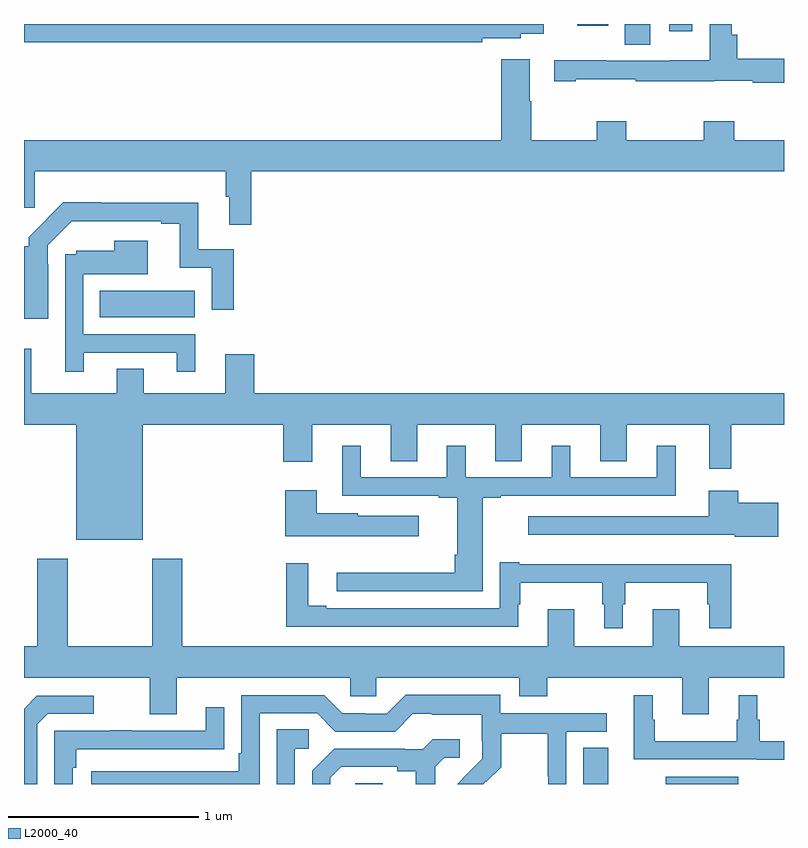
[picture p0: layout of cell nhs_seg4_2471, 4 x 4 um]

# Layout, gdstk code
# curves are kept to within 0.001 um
import gdstk
lib = gdstk.Library(unit=1e-6, precision=1e-09)
def R(c, l, rs):  # rectangles x0, y0, x1, y1
    for r in rs: c.add(gdstk.rectangle(r[:2], r[2:], *l))
def P(c, l, *ps):  # polygons
    for p in ps: c.add(gdstk.Polygon(p, *l))
L2000_40 = (2000, 40)

nhs_seg4_2471 = lib.new_cell('nhs_seg4_2471')
R(nhs_seg4_2471, L2000_40, [(240.744,822.9,240.889,822.905), (241.943,822.9,242.074,823.091), (242.378,822.9,242.758,822.937), (239.398,825.356,239.899,825.496), (242.162,826.792,242.296,826.9), (242.396,826.863,242.518,826.9), (241.913,826.89,242.074,826.9)])
P(nhs_seg4_2471, L2000_40, [(243,826.718),(242.753,826.718),(242.753,826.843),(242.726,826.843),(242.726,826.9),(242.61,826.9),(242.61,826.708),(242.4,826.708),(242.4,826.707),(242.066,826.707),(242.066,826.709),(241.791,826.709),(241.791,826.599),(241.903,826.599),(241.903,826.609),(242.219,826.609),(242.219,826.599),(242.634,826.599),(242.634,826.601),(242.836,826.601),(242.836,826.59),(243,826.59)],
  [(241.412,826.824),(241.614,826.824),(241.614,826.85),(241.735,826.85),(241.735,826.9),(239,826.9),(239,826.804),(241.412,826.804)],
  [(240.197,826.124),(243,826.124),(243,826.288),(242.738,826.288),(242.738,826.387),(242.578,826.387),(242.578,826.288),(242.169,826.288),(242.169,826.387),(242.014,826.387),(242.014,826.288),(241.671,826.288),(241.671,826.493),(241.663,826.493),(241.663,826.714),(241.511,826.714),(241.511,826.288),(239,826.288),(239,825.933),(239.057,825.933),(239.057,826.124),(240.061,826.124),(240.061,825.992),(240.08,825.992),(240.08,825.843),(240.197,825.843)],
  [(239.128,825.635),(239.124,825.635),(239.124,825.735),(239.25,825.861),(239.723,825.861),(239.723,825.849),(239.819,825.849),(239.819,825.618),(239.988,825.618),(239.988,825.396),(240.104,825.396),(240.104,825.714),(239.917,825.714),(239.917,825.958),(239.405,825.958),(239.405,825.961),(239.206,825.961),(239.024,825.778),(239.024,825.73),(239,825.73),(239,825.35),(239.128,825.35)],
  [(239.314,825.171),(239.804,825.171),(239.804,825.069),(239.902,825.069),(239.902,825.267),(239.313,825.267),(239.313,825.584),(239.65,825.584),(239.65,825.76),(239.474,825.76),(239.474,825.706),(239.274,825.706),(239.274,825.687),(239.217,825.687),(239.217,825.069),(239.314,825.069)],
  [(239.626,824.792),(240.365,824.792),(240.365,824.595),(240.517,824.595),(240.517,824.792),(240.929,824.792),(240.929,824.599),(241.069,824.599),(241.069,824.792),(241.481,824.792),(241.481,824.599),(241.621,824.599),(241.621,824.792),(242.033,824.792),(242.033,824.599),(242.173,824.599),(242.173,824.792),(242.606,824.792),(242.606,824.559),(242.723,824.559),(242.723,824.792),(243,824.792),(243,824.956),(240.212,824.956),(240.212,825.163),(240.059,825.163),(240.059,824.956),(239.629,824.956),(239.629,825.086),(239.489,825.086),(239.489,824.956),(239.039,824.956),(239.039,825.19),(239,825.19),(239,824.792),(239.276,824.792),(239.276,824.186),(239.626,824.186)],
  [(241.414,824.406),(241.51,824.406),(241.51,824.418),(242.429,824.418),(242.429,824.68),(242.33,824.68),(242.33,824.514),(241.876,824.514),(241.876,824.68),(241.778,824.68),(241.778,824.514),(241.324,824.514),(241.324,824.68),(241.226,824.68),(241.226,824.514),(240.772,824.514),(240.772,824.68),(240.674,824.68),(240.674,824.418),(241.184,824.418),(241.184,824.406),(241.28,824.406),(241.28,824.107),(241.268,824.107),(241.268,824.012),(240.645,824.012),(240.645,823.914),(241.414,823.914)],
  [(241.078,824.311),(240.756,824.311),(240.756,824.326),(240.541,824.326),(240.541,824.446),(240.374,824.446),(240.374,824.204),(241.078,824.204)],
  [(242.971,824.379),(242.759,824.379),(242.759,824.443),(242.603,824.443),(242.603,824.31),(241.653,824.31),(241.653,824.213),(242.742,824.213),(242.742,824.201),(242.971,824.201)],
  [(239.803,823.46),(240.717,823.46),(240.717,823.362),(240.855,823.362),(240.855,823.46),(241.607,823.46),(241.607,823.361),(241.755,823.361),(241.755,823.46),(242.465,823.46),(242.465,823.266),(242.605,823.266),(242.605,823.46),(243,823.46),(243,823.624),(242.449,823.624),(242.449,823.819),(242.309,823.819),(242.309,823.624),(241.897,823.624),(241.897,823.819),(241.757,823.819),(241.757,823.624),(239.834,823.624),(239.834,824.086),(239.674,824.086),(239.674,823.624),(239.229,823.624),(239.229,824.086),(239.069,824.086),(239.069,823.624),(239,823.624),(239,823.46),(239.663,823.46),(239.663,823.266),(239.803,823.266)],
  [(242.152,823.847),(242.164,823.847),(242.164,823.958),(242.595,823.958),(242.595,823.847),(242.606,823.847),(242.606,823.719),(242.723,823.719),(242.723,824.056),(241.606,824.056),(241.606,824.068),(241.503,824.068),(241.503,823.824),(240.592,823.824),(240.592,823.837),(240.496,823.837),(240.496,824.062),(240.379,824.062),(240.379,823.728),(241.6,823.728),(241.6,823.847),(241.612,823.847),(241.612,823.958),(242.043,823.958),(242.043,823.847),(242.054,823.847),(242.054,823.719),(242.152,823.719)],
  [(240.24,823.272),(240.543,823.272),(240.639,823.176),(240.954,823.176),(241.047,823.269),(241.147,823.269),(241.147,823.265),(241.41,823.265),(241.41,823.131),(241.412,823.131),(241.412,823.034),(241.28,822.9),(241.416,822.9),(241.431,822.915),(241.434,822.912),(241.511,822.989),(241.511,823.164),(241.756,823.164),(241.756,822.94),(241.758,822.94),(241.758,822.9),(241.854,822.9),(241.854,823.176),(242.068,823.176),(242.068,823.272),(241.506,823.272),(241.506,823.369),(241.009,823.369),(240.909,823.269),(240.794,823.269),(240.794,823.272),(240.675,823.272),(240.579,823.368),(240.144,823.368),(240.144,823.063),(240.131,823.063),(240.131,822.966),(239.355,822.966),(239.355,822.9),(240.24,822.9)],
  [(243,823.126),(242.872,823.126),(242.872,823.238),(242.86,823.238),(242.86,823.366),(242.762,823.366),(242.762,823.238),(242.751,823.238),(242.751,823.126),(242.32,823.126),(242.32,823.238),(242.308,823.238),(242.308,823.366),(242.21,823.366),(242.21,823.029),(242.856,823.029),(242.856,823.028),(243,823.028)],
  [(239.07,823.215),(239.124,823.269),(239.368,823.269),(239.368,823.365),(239.067,823.365),(239,823.297),(239,822.9),(239.07,822.9)],
  [(239.256,822.986),(239.276,822.986),(239.276,823.083),(239.951,823.083),(239.951,823.084),(240.053,823.084),(240.053,823.303),(239.957,823.303),(239.957,823.179),(239.567,823.179),(239.567,823.184),(239.455,823.184),(239.455,823.179),(239.16,823.179),(239.16,822.9),(239.256,822.9)],
  [(240.426,823.086),(240.499,823.086),(240.499,823.187),(240.33,823.187),(240.33,822.9),(240.426,822.9)],
  [(240.613,822.933),(240.67,822.99),(240.965,822.99),(240.965,822.968),(241.061,822.968),(241.061,822.9),(241.165,822.9),(241.165,822.991),(241.212,823.038),(241.294,823.038),(241.294,823.135),(241.15,823.135),(241.098,823.083),(241.004,823.083),(241.004,823.086),(240.632,823.086),(240.516,822.97),(240.516,822.9),(240.613,822.9)])

lib.write_gds('nhs_seg4_2471.gds')
